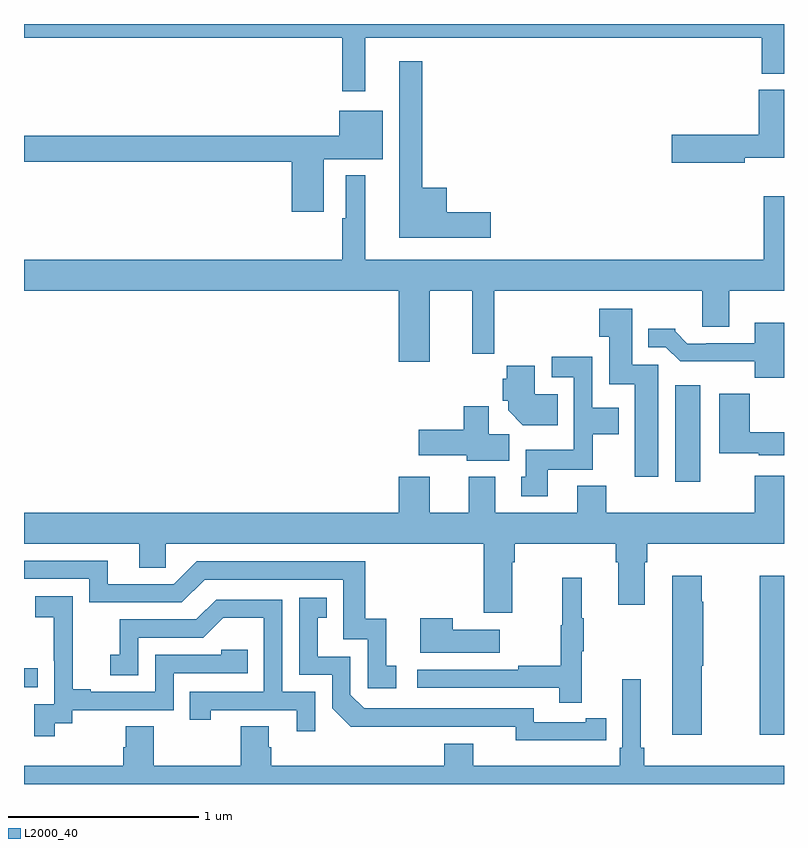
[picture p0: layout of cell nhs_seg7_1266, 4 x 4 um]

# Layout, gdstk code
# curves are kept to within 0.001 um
import gdstk
lib = gdstk.Library(unit=1e-6, precision=1e-09)
def R(c, l, rs):  # rectangles x0, y0, x1, y1
    for r in rs: c.add(gdstk.rectangle(r[:2], r[2:], *l))
def P(c, l, *ps):  # polygons
    for p in ps: c.add(gdstk.Polygon(p, *l))
L2000_40 = (2000, 40)

nhs_seg7_1266 = lib.new_cell('nhs_seg7_1266')
R(nhs_seg7_1266, L2000_40, [(202.873,1018.26,203,1019.095), (199,1018.509,199.073,1018.61), (202.427,1019.592,202.558,1020.1)])
P(nhs_seg7_1266, L2000_40, [(200.797,1021.928),(202.883,1021.928),(202.883,1021.739),(203,1021.739),(203,1022),(199,1022),(199,1021.928),(200.676,1021.928),(200.676,1021.647),(200.797,1021.647)],
  [(201.457,1021.01),(201.226,1021.01),(201.226,1021.138),(201.097,1021.138),(201.097,1021.804),(200.975,1021.804),(200.975,1020.875),(201.457,1020.875)],
  [(202.794,1021.295),(203,1021.295),(203,1021.654),(202.868,1021.654),(202.868,1021.418),(202.41,1021.418),(202.41,1021.271),(202.794,1021.271)],
  [(200.578,1021.289),(200.887,1021.289),(200.887,1021.543),(200.66,1021.543),(200.66,1021.412),(199,1021.412),(199,1021.276),(200.408,1021.276),(200.408,1021.011),(200.578,1021.011)],
  [(201.136,1020.596),(201.358,1020.596),(201.358,1020.264),(201.476,1020.264),(201.476,1020.596),(202.571,1020.596),(202.571,1020.406),(202.711,1020.406),(202.711,1020.596),(203,1020.596),(203,1021.093),(202.894,1021.093),(202.894,1020.76),(200.797,1020.76),(200.797,1021.204),(200.693,1021.204),(200.693,1020.977),(200.676,1020.977),(200.676,1020.76),(199,1020.76),(199,1020.596),(200.972,1020.596),(200.972,1020.222),(201.136,1020.222)],
  [(202.339,1020.207),(202.201,1020.207),(202.201,1020.502),(202.028,1020.502),(202.028,1020.355),(202.079,1020.355),(202.079,1020.104),(202.214,1020.104),(202.214,1019.616),(202.339,1019.616)],
  [(203,1020.427),(202.847,1020.427),(202.847,1020.321),(202.591,1020.321),(202.591,1020.318),(202.492,1020.318),(202.428,1020.382),(202.428,1020.397),(202.286,1020.397),(202.286,1020.3),(202.377,1020.3),(202.453,1020.224),(202.845,1020.224),(202.845,1020.137),(203,1020.137)],
  [(201.757,1019.654),(201.993,1019.654),(201.993,1019.84),(202.129,1019.84),(202.129,1019.98),(201.99,1019.98),(201.99,1020.25),(201.777,1020.25),(201.777,1020.141),(201.894,1020.141),(201.894,1019.758),(201.641,1019.758),(201.641,1019.616),(201.617,1019.616),(201.617,1019.514),(201.757,1019.514)],
  [(201.809,1020.052),(201.688,1020.052),(201.688,1020.202),(201.541,1020.202),(201.541,1020.132),(201.521,1020.132),(201.521,1020.018),(201.548,1020.018),(201.548,1019.966),(201.626,1019.888),(201.809,1019.888)],
  [(203,1019.851),(202.82,1019.851),(202.82,1020.055),(202.658,1020.055),(202.658,1019.741),(202.866,1019.741),(202.866,1019.729),(203,1019.729)],
  [(201.553,1019.84),(201.446,1019.84),(201.446,1019.989),(201.314,1019.989),(201.314,1019.864),(201.078,1019.864),(201.078,1019.729),(201.33,1019.729),(201.33,1019.702),(201.553,1019.702)],
  [(201.341,1019.617),(201.341,1019.428),(201.136,1019.428),(201.136,1019.617),(200.972,1019.617),(200.972,1019.428),(199,1019.428),(199,1019.264),(199.607,1019.264),(199.607,1019.137),(199.746,1019.137),(199.746,1019.264),(201.419,1019.264),(201.419,1018.902),(201.571,1018.902),(201.571,1019.168),(201.584,1019.168),(201.584,1019.264),(202.115,1019.264),(202.115,1019.168),(202.127,1019.168),(202.127,1018.944),(202.267,1018.944),(202.267,1019.168),(202.28,1019.168),(202.28,1019.264),(203,1019.264),(203,1019.623),(202.847,1019.623),(202.847,1019.428),(202.064,1019.428),(202.064,1019.569),(201.911,1019.569),(201.911,1019.428),(201.481,1019.428),(201.481,1019.617)],
  [(200.959,1018.623),(200.906,1018.623),(200.906,1018.87),(200.795,1018.87),(200.795,1019.172),(199.908,1019.172),(199.788,1019.052),(199.441,1019.052),(199.441,1019.175),(199,1019.175),(199,1019.079),(199.344,1019.079),(199.344,1018.956),(199.83,1018.956),(199.95,1019.076),(200.679,1019.076),(200.679,1018.761),(200.808,1018.761),(200.808,1018.503),(200.959,1018.503)],
  [(202.566,1018.623),(202.576,1018.623),(202.576,1018.959),(202.566,1018.959),(202.566,1019.095),(202.412,1019.095),(202.412,1018.26),(202.566,1018.26)],
  [(201.935,1018.699),(201.946,1018.699),(201.946,1018.873),(201.935,1018.873),(201.935,1019.086),(201.832,1019.086),(201.832,1018.836),(201.825,1018.836),(201.825,1018.622),(201.601,1018.622),(201.601,1018.602),(201.069,1018.602),(201.069,1018.506),(201.817,1018.506),(201.817,1018.428),(201.935,1018.428)],
  [(199.162,1018.321),(199.254,1018.321),(199.254,1018.389),(199.788,1018.389),(199.788,1018.584),(200.177,1018.584),(200.177,1018.707),(200.037,1018.707),(200.037,1018.68),(199.692,1018.68),(199.692,1018.485),(199.351,1018.485),(199.351,1018.498),(199.256,1018.498),(199.256,1018.781),(199.257,1018.781),(199.257,1018.987),(199.059,1018.987),(199.059,1018.877),(199.157,1018.877),(199.157,1018.649),(199.158,1018.649),(199.158,1018.419),(199.053,1018.419),(199.053,1018.251),(199.162,1018.251)],
  [(201.956,1018.23),(202.064,1018.23),(202.064,1018.346),(201.956,1018.346),(201.956,1018.326),(201.684,1018.326),(201.684,1018.398),(200.79,1018.398),(200.718,1018.47),(200.718,1018.671),(200.545,1018.671),(200.545,1018.875),(200.594,1018.875),(200.594,1018.981),(200.448,1018.981),(200.448,1018.575),(200.622,1018.575),(200.622,1018.398),(200.72,1018.301),(201.588,1018.302),(201.588,1018.229)],
  [(200.532,1018.485),(200.358,1018.485),(200.358,1018.971),(200.012,1018.971),(199.907,1018.866),(199.504,1018.866),(199.504,1018.681),(199.455,1018.681),(199.455,1018.572),(199.602,1018.572),(199.602,1018.77),(199.944,1018.77),(200.048,1018.874),(200.262,1018.874),(200.262,1018.485),(199.873,1018.485),(199.873,1018.338),(199.984,1018.338),(199.984,1018.389),(200.435,1018.389),(200.435,1018.278),(200.532,1018.278)],
  [(201.505,1018.813),(201.257,1018.813),(201.257,1018.873),(201.086,1018.873),(201.086,1018.691),(201.505,1018.691)],
  [(203,1018.096),(202.265,1018.096),(202.265,1018.192),(202.246,1018.192),(202.246,1018.552),(202.149,1018.552),(202.149,1018.192),(202.136,1018.192),(202.136,1018.096),(201.364,1018.096),(201.364,1018.213),(201.212,1018.213),(201.212,1018.096),(200.3,1018.096),(200.3,1018.194),(200.287,1018.194),(200.287,1018.304),(200.14,1018.304),(200.14,1018.096),(199.683,1018.096),(199.683,1018.304),(199.535,1018.304),(199.535,1018.194),(199.523,1018.194),(199.523,1018.096),(199,1018.096),(199,1018),(203,1018)])

lib.write_gds('nhs_seg7_1266.gds')
